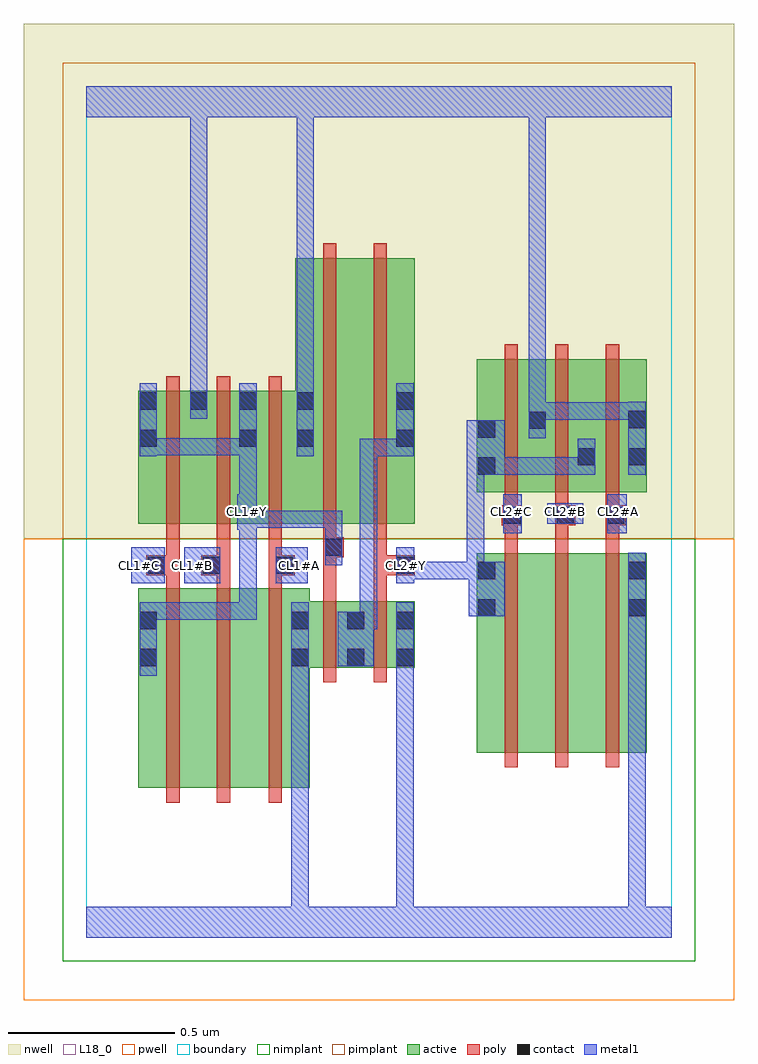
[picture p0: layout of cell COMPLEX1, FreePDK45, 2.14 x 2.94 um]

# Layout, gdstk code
import gdstk
lib = gdstk.Library(unit=1e-6, precision=1e-09)
def R(c, l, rs):  # rectangles x0, y0, x1, y1
    for r in rs: c.add(gdstk.rectangle(r[:2], r[2:], *l))
def A(c, l, x, y, w, h, nx, ny, dx, dy):  # array of equal rectangles
    R(c, l, [(x+i*dx, y+j*dy, x+i*dx+w, y+j*dy+h) for i in range(nx) for j in range(ny)])
active = (1, 0)
pwell = (2, 0)
nwell = (3, 0)
nimplant = (4, 0)
pimplant = (5, 0)
poly = (9, 0)
contact = (10, 0)
metal1 = (11, 0)
L18_0 = (18, 0)
boundary = (235, 0)

complex1 = lib.new_cell('COMPLEX1')
R(complex1, active, [(0.156,0.45,0.336,1.05), (0.336,0.45,0.488,1.05), (0.488,0.45,0.672,1.05), (0.612,0.45,0.672,0.984), (0.156,0.556,0.216,1.05), (1.174,0.556,1.234,1.156), (1.174,0.556,1.354,1.156), (1.354,0.556,1.506,1.156), (1.506,0.556,1.686,1.156), (1.626,0.556,1.686,1.156), (0.612,0.812,0.84,1.012), (0.78,0.812,0.988,1.012), (0.78,0.812,0.84,0.984), (0.928,0.812,0.988,1.012), (0.156,1.244,0.216,1.644), (0.156,1.244,0.368,1.644), (0.308,1.244,0.368,1.644), (0.308,1.244,0.516,1.644), (0.456,1.244,0.516,1.644), (0.456,1.244,0.688,1.644), (0.628,1.244,0.808,2.044), (0.628,1.244,0.688,1.74), (0.808,1.244,0.988,2.044), (0.928,1.244,0.988,2.044), (1.174,1.34,1.386,1.74), (1.174,1.34,1.234,1.644), (1.326,1.34,1.386,1.74), (1.326,1.34,1.534,1.74), (1.474,1.34,1.686,1.74), (1.474,1.34,1.534,1.644), (1.626,1.34,1.686,1.74)])
R(complex1, pwell, [(-0.188,-0.188,1.948,1.2)])
R(complex1, nwell, [(-0.188,1.2,1.948,2.748)])
R(complex1, nimplant, [(-0.072,-0.072,1.832,1.2)])
R(complex1, pimplant, [(-0.072,1.2,1.832,2.632)])
A(complex1, poly, 1.258, 0.512, 0.04, 0.688, 3, 1, 0.152, 0)
A(complex1, poly, 1.258, 1.16, 0.04, 0.12, 3, 1, 0.152, 0)
A(complex1, poly, 1.258, 1.26, 0.04, 0.076, 3, 1, 0.152, 0)
A(complex1, poly, 1.258, 1.296, 0.04, 0.488, 3, 1, 0.152, 0)
R(complex1, poly, [(0.24,0.406,0.28,1.094), (0.392,0.406,0.432,1.094), (0.548,0.406,0.588,1.094), (0.712,0.768,0.752,1.056), (0.864,0.768,0.904,1.056), (0.712,1.016,0.752,1.184), (0.864,1.016,0.904,1.13), (0.24,1.054,0.28,1.13), (0.392,1.054,0.432,1.13), (0.548,1.054,0.588,1.13), (0.18,1.09,0.28,1.15), (0.346,1.09,0.432,1.15), (0.392,1.09,0.432,1.13), (0.392,1.09,0.432,1.13), (0.548,1.09,0.626,1.15), (0.864,1.09,0.988,1.15), (0.24,1.11,0.28,1.15), (0.24,1.11,0.28,1.15), (0.24,1.11,0.28,1.24), (0.392,1.11,0.432,1.24), (0.548,1.11,0.588,1.15), (0.548,1.11,0.588,1.15), (0.548,1.11,0.588,1.24), (0.864,1.11,0.904,1.15), (0.864,1.11,0.904,1.15), (0.864,1.11,0.904,1.24), (0.712,1.144,0.752,1.184), (0.712,1.144,0.752,1.184), (0.712,1.144,0.774,1.204), (0.712,1.164,0.752,1.24), (0.24,1.2,0.28,1.688), (0.392,1.2,0.432,1.688), (0.548,1.2,0.588,1.688), (0.712,1.2,0.752,2.088), (0.864,1.2,0.904,2.088), (1.25,1.24,1.31,1.3), (1.258,1.24,1.298,1.28), (1.258,1.24,1.298,1.28), (1.41,1.24,1.45,1.28), (1.41,1.24,1.45,1.28), (1.41,1.24,1.47,1.3), (1.562,1.24,1.602,1.28), (1.562,1.24,1.602,1.28), (1.562,1.24,1.622,1.3)])
R(complex1, contact, [(0.16,0.816,0.212,0.868), (0.616,0.816,0.668,0.868), (0.784,0.816,0.836,0.868), (0.932,0.816,0.984,0.868), (0.16,0.928,0.212,0.98), (0.616,0.928,0.668,0.98), (0.784,0.928,0.836,0.98), (0.932,0.928,0.984,0.98), (1.178,0.966,1.23,1.018), (1.63,0.966,1.682,1.018), (1.178,1.078,1.23,1.13), (1.63,1.078,1.682,1.13), (0.184,1.094,0.236,1.146), (0.35,1.094,0.402,1.146), (0.57,1.094,0.622,1.146), (0.932,1.094,0.984,1.146), (0.718,1.148,0.77,1.2), (1.254,1.244,1.306,1.296), (1.414,1.244,1.466,1.296), (1.566,1.244,1.618,1.296), (1.178,1.392,1.23,1.444), (1.478,1.42,1.53,1.472), (1.63,1.42,1.682,1.472), (0.16,1.476,0.212,1.528), (0.46,1.476,0.512,1.528), (0.632,1.476,0.684,1.528), (0.932,1.476,0.984,1.528), (1.178,1.504,1.23,1.556), (1.33,1.53,1.382,1.582), (1.63,1.532,1.682,1.584), (0.16,1.588,0.212,1.64), (0.312,1.588,0.364,1.64), (0.46,1.588,0.512,1.64), (0.632,1.588,0.684,1.64), (0.932,1.588,0.984,1.64)])
R(complex1, metal1, [(0,0,1.76,0.092), (0.616,0.04,0.668,0.092), (0.616,0.04,0.668,0.092), (0.616,0.04,0.668,0.092), (0.616,0.04,0.668,0.092), (0.616,0.04,0.668,0.092), (0.616,0.04,0.668,0.092), (0.616,0.04,0.668,0.092), (0.616,0.04,0.668,0.092), (0.616,0.04,0.668,0.84), (0.932,0.04,0.984,0.092), (0.932,0.04,0.984,0.092), (0.932,0.04,0.984,0.092), (0.932,0.04,0.984,0.092), (0.932,0.04,0.984,0.84), (1.63,0.04,1.682,0.99), (0.16,0.788,0.212,1.008), (0.616,0.788,0.668,1.008), (0.932,0.788,0.984,0.84), (0.932,0.788,0.984,0.84), (0.932,0.788,0.984,0.84), (0.932,0.788,0.984,0.84), (0.932,0.788,0.984,0.84), (0.932,0.788,0.984,0.84), (0.932,0.788,0.984,0.84), (0.932,0.788,0.984,0.84), (0.932,0.788,0.984,0.84), (0.932,0.788,0.984,0.84), (0.932,0.788,0.984,0.84), (0.932,0.788,0.984,0.84), (0.932,0.788,0.984,1.008), (0.756,0.816,0.864,0.98), (0.812,0.928,0.864,0.98), (0.812,0.928,0.874,0.98), (0.822,0.928,0.874,1.5), (1.63,0.938,1.682,0.99), (1.63,0.938,1.682,0.99), (1.63,0.938,1.682,0.99), (1.63,0.938,1.682,0.99), (1.63,0.938,1.682,0.99), (1.63,0.938,1.682,0.99), (1.63,0.938,1.682,0.99), (1.63,0.938,1.682,0.99), (1.63,0.938,1.682,1.158), (0.16,0.956,0.212,1.008), (0.16,0.956,0.212,1.008), (0.16,0.956,0.396,1.008), (0.344,0.956,0.396,1.008), (0.344,0.956,0.512,1.008), (0.46,0.956,0.512,1.008), (0.46,0.956,0.512,1.008), (0.46,0.956,0.512,1.008), (0.46,0.956,0.512,1.278), (1.15,0.966,1.258,1.13), (0.134,1.066,0.236,1.174), (0.294,1.066,0.402,1.174), (0.57,1.066,0.666,1.174), (0.932,1.066,0.986,1.174), (0.934,1.078,0.986,1.13), (0.934,1.078,0.986,1.13), (0.934,1.078,1.196,1.13), (1.144,1.078,1.196,1.444), (1.144,1.078,1.202,1.13), (1.15,1.078,1.202,1.13), (0.718,1.12,0.77,1.284), (1.254,1.216,1.31,1.334), (1.566,1.216,1.626,1.334), (0.454,1.226,0.512,1.334), (0.46,1.226,0.512,1.278), (0.46,1.226,0.512,1.278), (0.46,1.232,0.622,1.284), (0.57,1.232,0.622,1.284), (0.57,1.232,0.622,1.284), (0.57,1.232,0.622,1.284), (0.57,1.232,0.77,1.284), (1.386,1.244,1.494,1.306), (0.46,1.282,0.512,1.5), (1.144,1.392,1.196,1.444), (1.144,1.392,1.196,1.444), (1.144,1.392,1.258,1.556), (1.206,1.392,1.258,1.444), (1.206,1.392,1.258,1.444), (1.206,1.392,1.398,1.444), (1.346,1.392,1.398,1.444), (1.346,1.392,1.398,1.444), (1.346,1.392,1.398,1.444), (1.346,1.392,1.53,1.444), (1.478,1.392,1.53,1.5), (1.63,1.392,1.682,1.612), (0.16,1.448,0.212,1.668), (0.46,1.448,0.512,1.668), (0.632,1.448,0.684,1.668), (0.822,1.448,0.874,1.5), (0.822,1.448,0.874,1.5), (0.822,1.448,0.874,1.5), (0.822,1.448,0.984,1.5), (0.932,1.448,0.984,1.5), (0.932,1.448,0.984,1.5), (0.932,1.448,0.984,1.668), (0.16,1.45,0.212,1.502), (0.16,1.45,0.212,1.502), (0.16,1.45,0.396,1.502), (0.344,1.45,0.396,1.502), (0.344,1.45,0.512,1.502), (0.46,1.45,0.512,1.502), (0.46,1.45,0.512,1.502), (1.33,1.502,1.382,1.61), (1.33,1.558,1.382,1.61), (1.33,1.558,1.382,1.61), (1.33,1.558,1.382,1.61), (1.33,1.558,1.382,1.61), (1.33,1.558,1.382,1.61), (1.33,1.558,1.382,1.61), (1.33,1.558,1.382,1.61), (1.33,1.558,1.382,1.61), (1.33,1.558,1.382,1.61), (1.33,1.558,1.382,1.61), (1.33,1.558,1.382,1.61), (1.33,1.558,1.382,1.61), (1.33,1.558,1.382,1.61), (1.33,1.558,1.382,1.61), (1.33,1.558,1.382,1.61), (1.33,1.558,1.382,1.61), (1.33,1.558,1.508,1.61), (1.33,1.558,1.382,2.52), (1.456,1.558,1.508,1.61), (1.456,1.558,1.508,1.61), (1.456,1.558,1.508,1.61), (1.456,1.558,1.682,1.61), (1.63,1.558,1.682,1.61), (1.63,1.558,1.682,1.61), (0.312,1.56,0.364,1.668), (0.312,1.616,0.364,1.668), (0.312,1.616,0.364,1.668), (0.312,1.616,0.364,1.668), (0.312,1.616,0.364,1.668), (0.312,1.616,0.364,2.52), (0.632,1.616,0.684,1.668), (0.632,1.616,0.684,1.668), (0.632,1.616,0.684,1.668), (0.632,1.616,0.684,1.668), (0.632,1.616,0.684,2.52), (0,2.468,1.76,2.56), (0.312,2.468,0.364,2.52), (0.312,2.468,0.364,2.52), (0.312,2.468,0.364,2.52), (0.312,2.468,0.364,2.52), (0.312,2.468,0.364,2.52), (0.312,2.468,0.364,2.52), (0.312,2.468,0.364,2.52), (0.312,2.468,0.364,2.52), (0.312,2.468,0.364,2.52), (0.312,2.468,0.364,2.52), (0.312,2.468,0.364,2.52), (0.312,2.468,0.364,2.52), (0.632,2.468,0.684,2.52), (0.632,2.468,0.684,2.52), (0.632,2.468,0.684,2.52), (0.632,2.468,0.684,2.52)])
A(complex1, L18_0, 0.294, 1.094, 0.052, 0.052, 3, 1, 0.32, 0)
A(complex1, L18_0, 1.254, 1.254, 0.052, 0.052, 3, 1, 0.16, 0)
R(complex1, L18_0, [(0,0,1.76,0.092), (0.616,0.04,0.668,0.092), (0.616,0.04,0.668,0.092), (0.616,0.04,0.668,0.092), (0.616,0.04,0.668,0.092), (0.616,0.04,0.668,0.092), (0.616,0.04,0.668,0.092), (0.616,0.04,0.668,0.092), (0.616,0.04,0.668,0.092), (0.616,0.04,0.668,0.84), (0.932,0.04,0.984,0.092), (0.932,0.04,0.984,0.092), (0.932,0.04,0.984,0.092), (0.932,0.04,0.984,0.092), (0.932,0.04,0.984,0.84), (1.63,0.04,1.682,0.99), (0.16,0.788,0.212,1.008), (0.616,0.788,0.668,1.008), (0.932,0.788,0.984,1.008), (0.932,0.788,0.984,0.84), (0.932,0.788,0.984,0.84), (0.932,0.788,0.984,0.84), (0.932,0.788,0.984,0.84), (0.932,0.788,0.984,0.84), (0.932,0.788,0.984,0.84), (0.932,0.788,0.984,0.84), (0.932,0.788,0.984,0.84), (0.932,0.788,0.984,0.84), (0.932,0.788,0.984,0.84), (0.932,0.788,0.984,0.84), (0.932,0.788,0.984,0.84), (1.63,0.938,1.682,1.158), (1.63,0.938,1.682,0.99), (1.63,0.938,1.682,0.99), (1.63,0.938,1.682,0.99), (1.63,0.938,1.682,0.99), (1.63,0.938,1.682,0.99), (1.63,0.938,1.682,0.99), (1.63,0.938,1.682,0.99), (1.63,0.938,1.682,0.99), (0.16,0.956,0.212,1.008), (0.16,0.956,0.212,1.008), (0.16,0.956,0.396,1.008), (0.344,0.956,0.396,1.008), (0.344,0.956,0.512,1.008), (0.46,0.956,0.512,1.008), (0.46,0.956,0.512,1.008), (0.46,0.956,0.512,1.008), (0.46,0.956,0.512,1.278), (1.15,0.966,1.258,1.13), (0.134,1.066,0.236,1.174), (0.294,1.066,0.402,1.174), (0.57,1.066,0.666,1.174), (0.932,1.066,0.986,1.174), (0.934,1.078,0.986,1.13), (0.934,1.078,0.986,1.13), (0.934,1.078,1.196,1.13), (1.144,1.078,1.202,1.13), (1.144,1.078,1.196,1.444), (1.15,1.078,1.202,1.13), (0.134,1.094,0.186,1.146), (0.718,1.12,0.77,1.284), (1.254,1.216,1.31,1.334), (1.566,1.216,1.626,1.334), (0.454,1.226,0.512,1.334), (0.46,1.226,0.512,1.278), (0.46,1.226,0.512,1.278), (0.46,1.232,0.622,1.284), (0.57,1.232,0.622,1.284), (0.57,1.232,0.622,1.284), (0.57,1.232,0.622,1.284), (0.57,1.232,0.77,1.284), (1.386,1.244,1.494,1.306), (0.454,1.254,0.506,1.306), (0.46,1.282,0.512,1.5), (1.144,1.392,1.196,1.444), (1.144,1.392,1.196,1.444), (1.144,1.392,1.258,1.556), (1.206,1.392,1.258,1.444), (1.206,1.392,1.258,1.444), (1.206,1.392,1.398,1.444), (1.346,1.392,1.398,1.444), (1.346,1.392,1.398,1.444), (1.346,1.392,1.398,1.444), (1.346,1.392,1.53,1.444), (1.478,1.392,1.53,1.5), (1.63,1.392,1.682,1.612), (0.16,1.448,0.212,1.668), (0.46,1.448,0.512,1.668), (0.632,1.448,0.684,1.668), (0.16,1.45,0.212,1.502), (0.16,1.45,0.212,1.502), (0.16,1.45,0.396,1.502), (0.344,1.45,0.396,1.502), (0.344,1.45,0.512,1.502), (0.46,1.45,0.512,1.502), (0.46,1.45,0.512,1.502), (1.33,1.502,1.382,1.61), (1.33,1.558,1.382,1.61), (1.33,1.558,1.382,1.61), (1.33,1.558,1.382,1.61), (1.33,1.558,1.382,1.61), (1.33,1.558,1.382,1.61), (1.33,1.558,1.382,1.61), (1.33,1.558,1.382,1.61), (1.33,1.558,1.382,1.61), (1.33,1.558,1.382,1.61), (1.33,1.558,1.382,1.61), (1.33,1.558,1.382,1.61), (1.33,1.558,1.382,1.61), (1.33,1.558,1.382,1.61), (1.33,1.558,1.382,1.61), (1.33,1.558,1.382,1.61), (1.33,1.558,1.382,1.61), (1.33,1.558,1.382,2.52), (1.33,1.558,1.508,1.61), (1.456,1.558,1.508,1.61), (1.456,1.558,1.508,1.61), (1.456,1.558,1.508,1.61), (1.456,1.558,1.682,1.61), (1.63,1.558,1.682,1.61), (1.63,1.558,1.682,1.61), (0.312,1.56,0.364,1.668), (0.312,1.616,0.364,1.668), (0.312,1.616,0.364,1.668), (0.312,1.616,0.364,1.668), (0.312,1.616,0.364,1.668), (0.312,1.616,0.364,2.52), (0.632,1.616,0.684,1.668), (0.632,1.616,0.684,1.668), (0.632,1.616,0.684,1.668), (0.632,1.616,0.684,1.668), (0.632,1.616,0.684,2.52), (0,2.468,1.76,2.56), (0.312,2.468,0.364,2.52), (0.312,2.468,0.364,2.52), (0.312,2.468,0.364,2.52), (0.312,2.468,0.364,2.52), (0.312,2.468,0.364,2.52), (0.312,2.468,0.364,2.52), (0.312,2.468,0.364,2.52), (0.312,2.468,0.364,2.52), (0.312,2.468,0.364,2.52), (0.312,2.468,0.364,2.52), (0.312,2.468,0.364,2.52), (0.312,2.468,0.364,2.52), (0.632,2.468,0.684,2.52), (0.632,2.468,0.684,2.52), (0.632,2.468,0.684,2.52), (0.632,2.468,0.684,2.52)])
R(complex1, boundary, [(0,0,1.76,2.56)])
complex1.add(gdstk.Label('CL1#A', (0.64,1.12), layer=11, texttype=0))
complex1.add(gdstk.Label('CL1#B', (0.32,1.12), layer=11, texttype=0))
complex1.add(gdstk.Label('CL1#C', (0.16,1.12), layer=11, texttype=0))
complex1.add(gdstk.Label('CL1#Y', (0.48,1.28), layer=11, texttype=0))
complex1.add(gdstk.Label('CL2#A', (1.6,1.28), layer=11, texttype=0))
complex1.add(gdstk.Label('CL2#B', (1.44,1.28), layer=11, texttype=0))
complex1.add(gdstk.Label('CL2#C', (1.28,1.28), layer=11, texttype=0))
complex1.add(gdstk.Label('CL2#Y', (0.96,1.12), layer=11, texttype=0))

lib.write_gds('COMPLEX1.gds')
